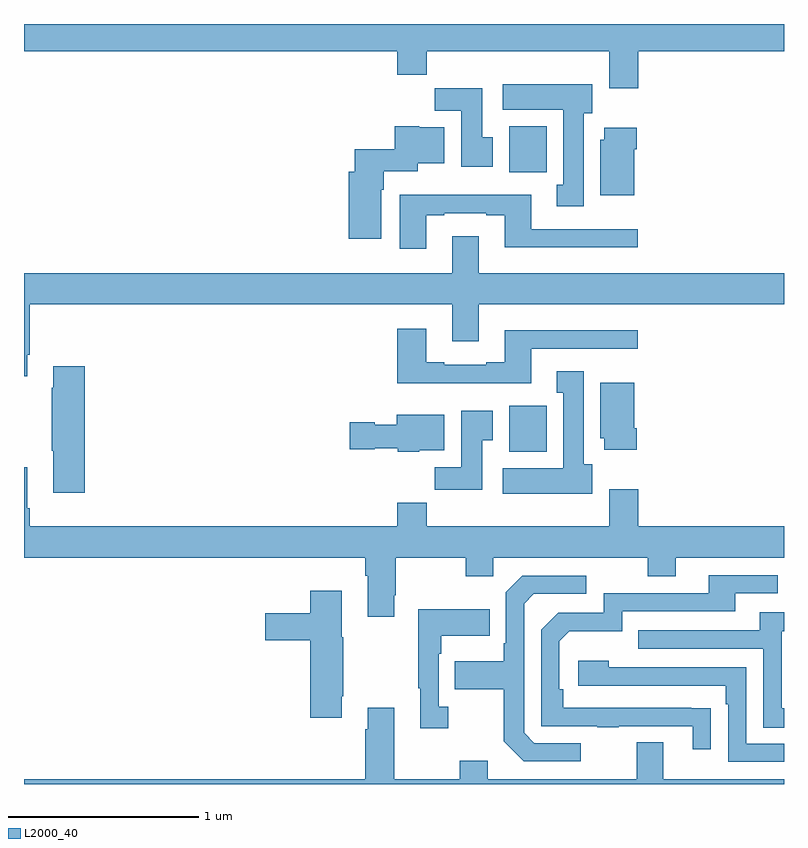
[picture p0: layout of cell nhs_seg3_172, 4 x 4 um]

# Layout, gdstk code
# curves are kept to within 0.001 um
import gdstk
lib = gdstk.Library(unit=1e-6, precision=1e-09)
def R(c, l, rs):  # rectangles x0, y0, x1, y1
    for r in rs: c.add(gdstk.rectangle(r[:2], r[2:], *l))
def P(c, l, *ps):  # polygons
    for p in ps: c.add(gdstk.Polygon(p, *l))
L2000_40 = (2000, 40)

nhs_seg3_172 = lib.new_cell('nhs_seg3_172')
R(nhs_seg3_172, L2000_40, [(121.553,692.15,121.75,692.392), (121.553,693.62,121.75,693.862)])
P(nhs_seg3_172, L2000_40, [(122.234,694.256),(123,694.256),(123,694.4),(119,694.4),(119,694.256),(120.965,694.256),(120.965,694.132),(121.121,694.132),(121.121,694.256),(122.081,694.256),(122.081,694.062),(122.234,694.062)],
  [(121.945,693.93),(121.99,693.93),(121.99,694.084),(121.521,694.084),(121.521,693.95),(121.838,693.95),(121.838,693.554),(121.805,693.554),(121.805,693.441),(121.945,693.441)],
  [(121.468,693.804),(121.411,693.804),(121.411,694.063),(121.162,694.063),(121.162,693.944),(121.301,693.944),(121.301,693.648),(121.468,693.648)],
  [(120.88,693.527),(120.893,693.527),(120.893,693.624),(121.072,693.624),(121.072,693.668),(121.213,693.668),(121.213,693.856),(121.08,693.856),(121.08,693.862),(120.95,693.862),(120.95,693.74),(120.74,693.74),(120.74,693.622),(120.71,693.622),(120.71,693.27),(120.88,693.27)],
  [(122.212,693.74),(122.225,693.74),(122.225,693.853),(122.054,693.853),(122.054,693.792),(122.033,693.792),(122.033,693.5),(122.212,693.5)],
  [(121.117,693.393),(121.213,693.393),(121.213,693.405),(121.433,693.405),(121.433,693.393),(121.529,693.393),(121.529,693.224),(122.23,693.224),(122.23,693.321),(121.669,693.321),(121.669,693.502),(120.977,693.502),(120.977,693.216),(121.117,693.216)],
  [(119.017,692.659),(119.03,692.659),(119.03,692.924),(121.253,692.924),(121.253,692.73),(121.393,692.73),(121.393,692.924),(123,692.924),(123,693.088),(121.393,693.088),(121.393,693.283),(121.253,693.283),(121.253,693.088),(119,693.088),(119,692.547),(119.017,692.547)],
  [(121.669,692.691),(122.23,692.691),(122.23,692.788),(121.529,692.788),(121.529,692.62),(121.433,692.62),(121.433,692.607),(121.213,692.607),(121.213,692.62),(121.117,692.62),(121.117,692.797),(120.965,692.797),(120.965,692.51),(121.669,692.51)],
  [(119.321,692.599),(119.153,692.599),(119.153,692.486),(119.146,692.486),(119.146,692.155),(119.153,692.155),(119.153,691.932),(119.321,691.932)],
  [(121.99,692.082),(121.945,692.082),(121.945,692.572),(121.805,692.572),(121.805,692.459),(121.838,692.459),(121.838,692.062),(121.521,692.062),(121.521,691.928),(121.99,691.928)],
  [(122.225,692.272),(122.212,692.272),(122.212,692.512),(122.033,692.512),(122.033,692.22),(122.054,692.22),(122.054,692.16),(122.225,692.16)],
  [(121.411,692.209),(121.468,692.209),(121.468,692.365),(121.301,692.365),(121.301,692.068),(121.162,692.068),(121.162,691.95),(121.411,691.95)],
  [(121.08,692.156),(121.213,692.156),(121.213,692.344),(120.962,692.344),(120.962,692.29),(120.846,692.29),(120.846,692.303),(120.714,692.303),(120.714,692.161),(120.846,692.161),(120.846,692.168),(120.966,692.168),(120.966,692.15),(121.08,692.15)],
  [(120.949,691.393),(120.957,691.393),(120.957,691.592),(121.324,691.592),(121.324,691.493),(121.47,691.493),(121.47,691.592),(122.284,691.592),(122.284,691.493),(122.431,691.493),(122.431,691.592),(123,691.592),(123,691.756),(122.234,691.756),(122.234,691.951),(122.081,691.951),(122.081,691.756),(121.121,691.756),(121.121,691.88),(120.965,691.88),(120.965,691.756),(119.03,691.756),(119.03,691.852),(119.017,691.852),(119.017,692.068),(119,692.068),(119,691.592),(120.797,691.592),(120.797,691.496),(120.809,691.496),(120.809,691.281),(120.949,691.281)],
  [(122.615,690.8),(121.838,690.801),(121.838,690.898),(121.818,690.898),(121.818,691.152),(121.871,691.205),(122.148,691.205),(122.148,691.308),(122.743,691.308),(122.743,691.404),(122.968,691.404),(122.968,691.5),(122.603,691.5),(122.603,691.404),(122.052,691.404),(122.052,691.302),(121.812,691.302),(121.722,691.212),(121.722,690.705),(122.017,690.705),(122.017,690.7),(122.129,690.7),(122.129,690.705),(122.519,690.705),(122.519,690.582),(122.615,690.582)],
  [(121.93,690.615),(121.686,690.615),(121.632,690.669),(121.632,691.35),(121.683,691.401),(121.96,691.401),(121.96,691.497),(121.623,691.497),(121.536,691.41),(121.536,691.141),(121.524,691.141),(121.524,691.045),(121.267,691.045),(121.267,690.898),(121.524,690.898),(121.524,690.625),(121.629,690.519),(121.93,690.519)],
  [(120.673,690.862),(120.681,690.862),(120.681,691.173),(120.673,691.173),(120.673,691.417),(120.506,691.417),(120.506,691.299),(120.27,691.299),(120.27,691.157),(120.506,691.157),(120.506,690.75),(120.673,690.75)],
  [(121.234,690.806),(121.182,690.806),(121.182,691.085),(121.195,691.085),(121.195,691.181),(121.451,691.181),(121.451,691.321),(121.074,691.321),(121.074,690.905),(121.085,690.905),(121.085,690.693),(121.234,690.693)],
  [(123,690.798),(122.988,690.798),(122.988,691.203),(123,691.203),(123,691.303),(122.873,691.303),(122.873,691.209),(122.233,691.209),(122.233,691.113),(122.892,691.113),(122.892,690.697),(123,690.697)],
  [(123,690.612),(122.802,690.612),(122.802,691.014),(122.078,691.014),(122.078,691.048),(121.917,691.048),(121.917,690.918),(122.693,690.918),(122.693,690.821),(122.706,690.821),(122.706,690.516),(123,690.516)],
  [(123,690.424),(122.365,690.424),(122.365,690.619),(122.225,690.619),(122.225,690.424),(121.441,690.424),(121.441,690.523),(121.294,690.523),(121.294,690.424),(120.949,690.424),(120.949,690.802),(120.809,690.802),(120.809,690.689),(120.797,690.689),(120.797,690.424),(119,690.424),(119,690.4),(123,690.4)])

lib.write_gds('nhs_seg3_172.gds')
